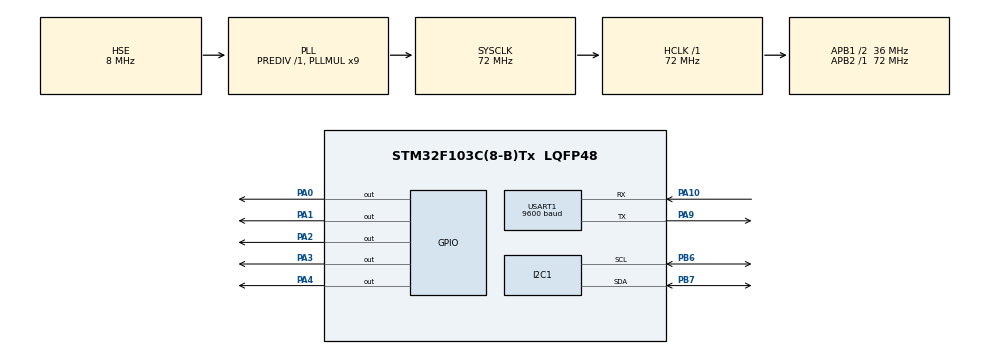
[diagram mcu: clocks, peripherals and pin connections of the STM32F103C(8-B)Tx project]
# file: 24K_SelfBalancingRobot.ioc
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Mcu.Family=STM32F1
Mcu.Name=STM32F103C(8-B)Tx
Mcu.Package=LQFP48
NVIC.PriorityGroup=NVIC_PRIORITYGROUP_4
NVIC.TIM2_IRQn=true\:0\:0\:false\:false\:true\:true\:true\:true
NVIC.USART1_IRQn=true\:0\:0\:false\:false\:true\:true\:true\:true
PA0-WKUP.Signal=GPIO_Output
PA1.Signal=GPIO_Output
PA10.Mode=Asynchronous
PA10.Signal=USART1_RX
PA13.Mode=Serial_Wire
PA13.Signal=SYS_JTMS-SWDIO
PA14.Mode=Serial_Wire
PA14.Signal=SYS_JTCK-SWCLK
PA2.Signal=GPIO_Output
PA3.Signal=GPIO_Output
PA4.Signal=GPIO_Output
PA9.Mode=Asynchronous
PA9.Signal=USART1_TX
PB6.Mode=I2C
PB6.Signal=I2C1_SCL
PB7.Mode=I2C
PB7.Signal=I2C1_SDA
PD0-OSC_IN.Mode=HSE-External-Oscillator
PD0-OSC_IN.Signal=RCC_OSC_IN
PD1-OSC_OUT.Mode=HSE-External-Oscillator
PD1-OSC_OUT.Signal=RCC_OSC_OUT
ProjectManager.HeapSize=0x200
ProjectManager.StackSize=0x400
ProjectManager.TargetToolchain=STM32CubeIDE
RCC.AHBFreq_Value=72000000
RCC.APB1CLKDivider=RCC_HCLK_DIV2
RCC.APB1Freq_Value=36000000
RCC.APB1TimFreq_Value=72000000
RCC.APB2Freq_Value=72000000
RCC.APB2TimFreq_Value=72000000
RCC.HCLKFreq_Value=72000000
RCC.PLLMUL=RCC_PLL_MUL9
RCC.PLLSourceVirtual=RCC_PLLSOURCE_HSE
RCC.SYSCLKFreq_VALUE=72000000
RCC.SYSCLKSource=RCC_SYSCLKSOURCE_PLLCLK
RCC.USBFreq_Value=72000000
TIM2.Period=19
TIM2.Prescaler=71
USART1.BaudRate=9600
USART1.VirtualMode=VM_ASYNC
VP_TIM2_VS_ClockSourceINT.Mode=Internal
board=custom

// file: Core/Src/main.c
/* USER CODE BEGIN Header */
/**
  ******************************************************************************
  * @file           : main.c
  * @brief          : Main program body
  ******************************************************************************
  * @attention
  *
  * Copyright (c) 2024 STMicroelectronics.
  * All rights reserved.
  *
  * This software is licensed under terms that can be found in the LICENSE file
  * in the root directory of this software component.
  * If no LICENSE file comes with this software, it is provided AS-IS.
  *
  ******************************************************************************
  */
/* USER CODE END Header */
#include "main.h"

/* USER CODE BEGIN Includes */
#include "AppInterface.h"
#include "Macro.h"
/* USER CODE END Includes */

/* USER CODE BEGIN PD */
const float RAD_TO_DEG = 57.295779513;
#define Square(x)	x*x
#define ALPHA 0.98

// Direction Pin and Step Pin for Left Motor
#define DIR_PIN_LEFT	GPIO_PIN_1	// PA1
#define DIR_PORT_LEFT	GPIOA
#define STEP_PIN_LEFT	GPIO_PIN_2	// PA2
#define STEP_PORT_LEFT	GPIOA

// Direction Pin and Step Pin for Right Motor
#define DIR_PIN_RIGHT	GPIO_PIN_3	// PA3
#define DIR_PORT_RIGHT	GPIOA
#define STEP_PIN_RIGHT	GPIO_PIN_4	// PA4
#define STEP_PORT_RIGHT	GPIOA
/* USER CODE END PD */

I2C_HandleTypeDef hi2c1;

TIM_HandleTypeDef htim2;

UART_HandleTypeDef huart1;

/* USER CODE BEGIN PV */
/* Module Bluetooth HC05 */
UINT8 u8RxData;
/* USER CODE END PV */

void SystemClock_Config(void);
static void MX_GPIO_Init(void);
static void MX_TIM2_Init(void);
static void MX_I2C1_Init(void);
static void MX_USART1_UART_Init(void);
/* USER CODE BEGIN PFP */
void AOSpeedMotorLeft(INT16 Param);
void AOSpeedMotorRight(INT16 Param);
/* USER CODE END PFP */

/* USER CODE BEGIN 0 */

/*
 * DIR:
 * 		. DIR != 0: Enable control motor
 * 			. DIR > 0: clockwise
 * 			. DIR < 0: anti-clockwise
 * 		. DIR == 0: Not control motor
 */
INT8 n8DirLeft = 0;
INT8 n8DirRight = 0;

volatile UINT8 u8Counter20usLeft = 0;
volatile UINT8 u8Counter20usRight = 0;

// Total number of cumulative pulses in the timer interrupt program
volatile INT32 n32StepLeft = 0;
volatile INT32 n32StepRight = 0;

INT16 n16CounterTopLeft = 0;
INT16 n16CounterBotLeft = 0;
INT16 n16CounterTopRight = 0;
INT16 n16CounterBotRight = 0;

MPU6050_Data* ptrMPU6050Data;
FLOAT fRoll_Accel = 0;
FLOAT fRoll_Gryro = 0;
FLOAT fRoll_Current = 0;
FLOAT fRoll_Before = 0;
FLOAT fOffset = 0;

/* USER CODE END 0 */

int main(void)
{

  /* MCU Configuration--------------------------------------------------------*/

  /* Reset of all peripherals, Initializes the Flash interface and the Systick. */
  HAL_Init();

  /* Configure the system clock */
  SystemClock_Config();

  /* Initialize all configured peripherals */
  MX_GPIO_Init();
  MX_TIM2_Init();
  MX_I2C1_Init();
  MX_USART1_UART_Init();
  /* USER CODE BEGIN 2 */
  HAL_TIM_Base_Start_IT(&htim2);  // Start Timer 2, When the timer overflows, an interrupt will be performed.
  HAL_UART_Receive_IT(&huart1, &u8RxData, 1); // Enabling interrupt receive
  // Init MPU6050
  AppControl_MPU6050_Init();
  /* USER CODE END 2 */

  /* Infinite loop */
  /* USER CODE BEGIN WHILE */
  while (1)
  {

#if DEBUG_NEMA17
	  AOSpeedMotorLeft(100);
	  AOSpeedMotorRight(100);
#endif

#if DEBUG_MPU6050
	  AppControl_MPU6050ReadData();
	  ptrMPU6050Data = AppControl_MPU6050GetData();
	  fRoll = RAD_TO_DEG * (atan((ptrMPU6050Data->fAccel_Y)/(sqrt(Square(ptrMPU6050Data->fAccel_X) + Square(ptrMPU6050Data->fAccel_Z)))));
#endif

#if DEBUG_JUSTBALANCE
	  AppControl_MPU6050ReadData();
	  ptrMPU6050Data = AppControl_MPU6050GetData();

	  fRoll_Accel = RAD_TO_DEG * (atan((ptrMPU6050Data->fAccel_Y)/(sqrt(Square(ptrMPU6050Data->fAccel_X) + Square(ptrMPU6050Data->fAccel_Z)))));
    fRoll_Gryro = (ptrMPU6050Data->fGyro_X)*0.004;
    //fRoll -= 1;
    fRoll_Current = ALPHA*(fRoll_Before + fRoll_Gryro) + (1-ALPHA)*(fRoll_Accel);
    fRoll_Before = fRoll_Current;

    fOffset = -3.15;
    AppControl_PIDLeftRightMotor(fRoll_Current, fOffset);
    HAL_Delay(4);
#endif
	  /* USER CODE END WHILE */

    /* USER CODE BEGIN 3 */
 	  //AOSpeedMotorLeft(100);
  }
  /* USER CODE END 3 */
}

void SystemClock_Config(void)
{
  RCC_OscInitTypeDef RCC_OscInitStruct = {0};
  RCC_ClkInitTypeDef RCC_ClkInitStruct = {0};

  /** Initializes the RCC Oscillators according to the specified parameters
  * in the RCC_OscInitTypeDef structure.
  */
  RCC_OscInitStruct.OscillatorType = RCC_OSCILLATORTYPE_HSE;
  RCC_OscInitStruct.HSEState = RCC_HSE_ON;
  RCC_OscInitStruct.HSEPredivValue = RCC_HSE_PREDIV_DIV1;
  RCC_OscInitStruct.HSIState = RCC_HSI_ON;
  RCC_OscInitStruct.PLL.PLLState = RCC_PLL_ON;
  RCC_OscInitStruct.PLL.PLLSource = RCC_PLLSOURCE_HSE;
  RCC_OscInitStruct.PLL.PLLMUL = RCC_PLL_MUL9;
  if (HAL_RCC_OscConfig(&RCC_OscInitStruct) != HAL_OK)
  {
    Error_Handler();
  }

  /** Initializes the CPU, AHB and APB buses clocks
  */
  RCC_ClkInitStruct.ClockType = RCC_CLOCKTYPE_HCLK|RCC_CLOCKTYPE_SYSCLK
                              |RCC_CLOCKTYPE_PCLK1|RCC_CLOCKTYPE_PCLK2;
  RCC_ClkInitStruct.SYSCLKSource = RCC_SYSCLKSOURCE_PLLCLK;
  RCC_ClkInitStruct.AHBCLKDivider = RCC_SYSCLK_DIV1;
  RCC_ClkInitStruct.APB1CLKDivider = RCC_HCLK_DIV2;
  RCC_ClkInitStruct.APB2CLKDivider = RCC_HCLK_DIV1;

  if (HAL_RCC_ClockConfig(&RCC_ClkInitStruct, FLASH_LATENCY_2) != HAL_OK)
  {
    Error_Handler();
  }
}

static void MX_I2C1_Init(void)
{

  hi2c1.Instance = I2C1;
  hi2c1.Init.ClockSpeed = 100000;
  hi2c1.Init.DutyCycle = I2C_DUTYCYCLE_2;
  hi2c1.Init.OwnAddress1 = 0;
  hi2c1.Init.AddressingMode = I2C_ADDRESSINGMODE_7BIT;
  hi2c1.Init.DualAddressMode = I2C_DUALADDRESS_DISABLE;
  hi2c1.Init.OwnAddress2 = 0;
  hi2c1.Init.GeneralCallMode = I2C_GENERALCALL_DISABLE;
  hi2c1.Init.NoStretchMode = I2C_NOSTRETCH_DISABLE;
  if (HAL_I2C_Init(&hi2c1) != HAL_OK)
  {
    Error_Handler();
  }

}

static void MX_TIM2_Init(void)
{

  TIM_ClockConfigTypeDef sClockSourceConfig = {0};
  TIM_MasterConfigTypeDef sMasterConfig = {0};

  htim2.Instance = TIM2;
  htim2.Init.Prescaler = 71;
  htim2.Init.CounterMode = TIM_COUNTERMODE_UP;
  htim2.Init.Period = 19;
  htim2.Init.ClockDivision = TIM_CLOCKDIVISION_DIV1;
  htim2.Init.AutoReloadPreload = TIM_AUTORELOAD_PRELOAD_DISABLE;
  if (HAL_TIM_Base_Init(&htim2) != HAL_OK)
  {
    Error_Handler();
  }
  sClockSourceConfig.ClockSource = TIM_CLOCKSOURCE_INTERNAL;
  if (HAL_TIM_ConfigClockSource(&htim2, &sClockSourceConfig) != HAL_OK)
  {
    Error_Handler();
  }
  sMasterConfig.MasterOutputTrigger = TIM_TRGO_RESET;
  sMasterConfig.MasterSlaveMode = TIM_MASTERSLAVEMODE_DISABLE;
  if (HAL_TIMEx_MasterConfigSynchronization(&htim2, &sMasterConfig) != HAL_OK)
  {
    Error_Handler();
  }

}

static void MX_USART1_UART_Init(void)
{

  huart1.Instance = USART1;
  huart1.Init.BaudRate = 9600;
  huart1.Init.WordLength = UART_WORDLENGTH_8B;
  huart1.Init.StopBits = UART_STOPBITS_1;
  huart1.Init.Parity = UART_PARITY_NONE;
  huart1.Init.Mode = UART_MODE_TX_RX;
  huart1.Init.HwFlowCtl = UART_HWCONTROL_NONE;
  huart1.Init.OverSampling = UART_OVERSAMPLING_16;
  if (HAL_UART_Init(&huart1) != HAL_OK)
  {
    Error_Handler();
  }

}

static void MX_GPIO_Init(void)
{
  GPIO_InitTypeDef GPIO_InitStruct = {0};

  /* GPIO Ports Clock Enable */
  __HAL_RCC_GPIOD_CLK_ENABLE();
  __HAL_RCC_GPIOA_CLK_ENABLE();
  __HAL_RCC_GPIOB_CLK_ENABLE();

  /*Configure GPIO pin Output Level */
  HAL_GPIO_WritePin(GPIOA, GPIO_PIN_0|GPIO_PIN_1|GPIO_PIN_2|GPIO_PIN_3
                          |GPIO_PIN_4, GPIO_PIN_RESET);

  /*Configure GPIO pins : PA0 PA1 PA2 PA3
                           PA4 */
  GPIO_InitStruct.Pin = GPIO_PIN_0|GPIO_PIN_1|GPIO_PIN_2|GPIO_PIN_3
                          |GPIO_PIN_4;
  GPIO_InitStruct.Mode = GPIO_MODE_OUTPUT_PP;
  GPIO_InitStruct.Pull = GPIO_NOPULL;
  GPIO_InitStruct.Speed = GPIO_SPEED_FREQ_LOW;
  HAL_GPIO_Init(GPIOA, &GPIO_InitStruct);

}

/* USER CODE BEGIN 4 */
/*
 * This function is called every 2us
 */
void HAL_TIM_PeriodElapsedCallback(TIM_HandleTypeDef *htim)
{
	if (htim->Instance == htim2.Instance)
	{
		if (n8DirLeft != 0)
		{
			u8Counter20usLeft++;
			if (u8Counter20usLeft <= n16CounterTopLeft)
			{
				// Set Step pin = HIGH
				HAL_GPIO_WritePin(STEP_PORT_LEFT, STEP_PIN_LEFT, GPIO_PIN_SET);
			}
			else
			{
				// Set Step pin = LOW
				HAL_GPIO_WritePin(STEP_PORT_LEFT, STEP_PIN_LEFT, GPIO_PIN_RESET);
			}

			if (u8Counter20usLeft > n16CounterBotLeft)
			{
				u8Counter20usLeft = 0;
				if (n8DirLeft > 0)
				{
					n32StepLeft++;
				}
				else if (n8DirLeft < 0)
				{
					n32StepLeft--;
				}
			}
		}

		if (n8DirRight != 0)
		{
			u8Counter20usRight++;
			if (u8Counter20usRight <= n16CounterTopRight)
			{
				// Set Step pin = HIGH
				HAL_GPIO_WritePin(STEP_PORT_RIGHT, STEP_PIN_RIGHT, GPIO_PIN_SET);
			}
			else
			{
				// Set Step pin = LOW
				HAL_GPIO_WritePin(STEP_PORT_RIGHT, STEP_PIN_RIGHT, GPIO_PIN_RESET);
			}

			if (u8Counter20usRight > n16CounterBotRight)
			{
				u8Counter20usRight = 0;
				if (n8DirRight > 0)
				{
					n32StepRight++;
				}
				else if (n8DirRight < 0)
				{
					n32StepRight--;
				}
			}
		}
	}
}

/*
 * @author: NGO KIEN HOANG
 * @email: hoang.ngo000187@gmail.com
 *
 * This function AOSpeedMotorLeft and AOSpeedMotorRight is to control the speed of each motor
 */
void AOSpeedMotorLeft(INT16 Param)
{
	/*
	 * Param = large value --> Speed up
	 * Param = small value --> Low down
	 * Param = 0 --> Stop
	 */
	n16CounterBotLeft = abs(Param);
	n16CounterTopLeft = abs(Param)/2;
	if (Param < 0)
	{
		HAL_GPIO_WritePin(DIR_PORT_LEFT, DIR_PIN_LEFT, GPIO_PIN_RESET); // Set Dir pin left --> LOW
		n8DirLeft = -1; // anti-clockwise
	}
	else if (Param > 0)
	{
		HAL_GPIO_WritePin(DIR_PORT_LEFT, DIR_PIN_LEFT, GPIO_PIN_SET); // Set Dir pin left --> HIGH
		n8DirLeft = 1; // clockwise
	}
	else
	{
		n8DirLeft = 0; // Stop motor
	}
}

void AOSpeedMotorRight(INT16 Param)
{
	/*
	 * Param = large value --> Speed up
	 * Param = small value --> Low down
	 * Param = 0 --> Stop
	 */
	n16CounterBotRight = abs(Param);
	n16CounterTopRight = abs(Param)/2;

	if (Param < 0)
	{
		HAL_GPIO_WritePin(DIR_PORT_RIGHT, DIR_PIN_RIGHT, GPIO_PIN_RESET); // Set Dir pin left --> LOW
		n8DirRight = -1; // anti-clockwise
	}
	else if (Param > 0)
	{
		HAL_GPIO_WritePin(DIR_PORT_RIGHT, DIR_PIN_RIGHT, GPIO_PIN_SET); // Set Dir pin left --> HIGH
		n8DirRight = 1; // clockwise
	}
	else
	{
		n8DirRight = 0; // Stop motor
	}
}

/*
 *	Get function for hi2c1
 */
I2C_HandleTypeDef* AppGet_hi2c1(void)
{
	return &hi2c1;
}

/* UART1 Interrupt */
void HAL_UART_RxCpltCallback(UART_HandleTypeDef *huart)
{
  if(huart->Instance==USART1)
  {
    if(u8RxData==78) // Ascii value of 'N' is 78 (N for NO)
    {
    	HAL_GPIO_WritePin(GPIOA, GPIO_PIN_0, 0);
    }
    else if (u8RxData==89) // Ascii value of 'Y' is 89 (Y for YES)
    {
    	HAL_GPIO_WritePin(GPIOA, GPIO_PIN_0, 1);
    }
    HAL_UART_Receive_IT(&huart1,&u8RxData,1); // Enabling interrupt receive again
  }
}

/* USER CODE END 4 */

void Error_Handler(void)
{
  __disable_irq();
  while (1)
  {
  }
}
